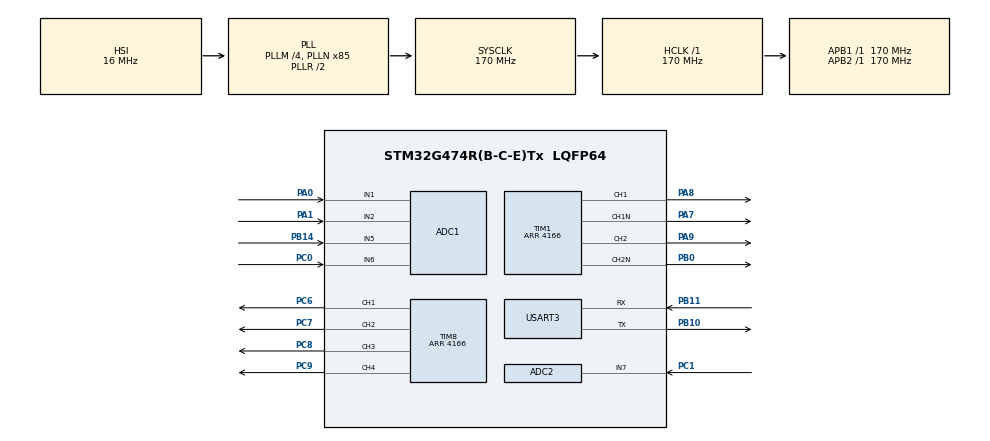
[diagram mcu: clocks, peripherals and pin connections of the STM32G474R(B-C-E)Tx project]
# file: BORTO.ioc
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ADC1.Channel-0\#ChannelRegularConversion=ADC_CHANNEL_1
ADC1.Channel-1\#ChannelRegularConversion=ADC_CHANNEL_2
ADC1.DMAContinuousRequests=ENABLE
ADC1.EnableAnalogWatchDog1=false
ADC1.ExternalTrigConv=ADC_EXTERNALTRIG_T1_TRGO
ADC1.NbrOfConversion=2
ADC1.NbrOfConversionFlag=1
ADC1.OffsetNumber-0\#ChannelRegularConversion=ADC_OFFSET_NONE
ADC1.OffsetNumber-1\#ChannelRegularConversion=ADC_OFFSET_NONE
ADC1.Rank-0\#ChannelRegularConversion=1
ADC1.Rank-1\#ChannelRegularConversion=2
ADC1.SamplingTime-0\#ChannelRegularConversion=ADC_SAMPLETIME_47CYCLES_5
ADC1.SamplingTime-1\#ChannelRegularConversion=ADC_SAMPLETIME_47CYCLES_5
ADC1.master=1
ADC2.Channel-0\#ChannelRegularConversion=ADC_CHANNEL_7
ADC2.DMAContinuousRequests=ENABLE
ADC2.ExternalTrigConv=ADC_EXTERNALTRIG_T1_TRGO
ADC2.NbrOfConversionFlag=1
ADC2.OffsetNumber-0\#ChannelRegularConversion=ADC_OFFSET_NONE
ADC2.Rank-0\#ChannelRegularConversion=1
ADC2.SamplingTime-0\#ChannelRegularConversion=ADC_SAMPLETIME_47CYCLES_5
Dma.ADC1.0.Direction=DMA_PERIPH_TO_MEMORY
Dma.ADC1.0.EventEnable=DISABLE
Dma.ADC1.0.Instance=DMA1_Channel1
Dma.ADC1.0.MemDataAlignment=DMA_MDATAALIGN_HALFWORD
Dma.ADC1.0.MemInc=DMA_MINC_ENABLE
Dma.ADC1.0.Mode=DMA_CIRCULAR
Dma.ADC1.0.PeriphDataAlignment=DMA_PDATAALIGN_HALFWORD
Dma.ADC1.0.PeriphInc=DMA_PINC_DISABLE
Dma.ADC1.0.Polarity=HAL_DMAMUX_REQ_GEN_RISING
Dma.ADC1.0.Priority=DMA_PRIORITY_LOW
Dma.ADC1.0.RequestNumber=1
Dma.ADC1.0.SignalID=NONE
Dma.ADC1.0.SyncEnable=DISABLE
Dma.ADC1.0.SyncPolarity=HAL_DMAMUX_SYNC_NO_EVENT
Dma.ADC1.0.SyncRequestNumber=1
Dma.ADC1.0.SyncSignalID=NONE
Dma.ADC2.1.Direction=DMA_PERIPH_TO_MEMORY
Dma.ADC2.1.EventEnable=DISABLE
Dma.ADC2.1.Instance=DMA1_Channel2
Dma.ADC2.1.MemDataAlignment=DMA_MDATAALIGN_HALFWORD
Dma.ADC2.1.MemInc=DMA_MINC_ENABLE
Dma.ADC2.1.Mode=DMA_CIRCULAR
Dma.ADC2.1.PeriphDataAlignment=DMA_PDATAALIGN_HALFWORD
Dma.ADC2.1.PeriphInc=DMA_PINC_DISABLE
Dma.ADC2.1.Polarity=HAL_DMAMUX_REQ_GEN_RISING
Dma.ADC2.1.Priority=DMA_PRIORITY_LOW
Dma.ADC2.1.RequestNumber=1
Dma.ADC2.1.SignalID=NONE
Dma.ADC2.1.SyncEnable=DISABLE
Dma.ADC2.1.SyncPolarity=HAL_DMAMUX_SYNC_NO_EVENT
Dma.ADC2.1.SyncRequestNumber=1
Dma.ADC2.1.SyncSignalID=NONE
Dma.Request0=ADC1
Dma.Request1=ADC2
Mcu.Family=STM32G4
Mcu.Name=STM32G474R(B-C-E)Tx
Mcu.Package=LQFP64
NVIC.ADC1_2_IRQn=true\:0\:0\:false\:false\:true\:true\:true\:true
NVIC.DMA1_Channel1_IRQn=true\:0\:0\:false\:false\:true\:false\:true\:true
NVIC.DMA1_Channel2_IRQn=true\:0\:0\:false\:false\:true\:false\:true\:true
NVIC.PriorityGroup=NVIC_PRIORITYGROUP_4
NVIC.TIM8_UP_IRQn=true\:0\:0\:false\:false\:true\:true\:true\:true
PA0.Mode=IN1-Single-Ended
PA0.Signal=ADC1_IN1
PA1.GPIO_Pd=GPIO_NOPULL
PA1.Mode=IN2-Single-Ended
PA1.Signal=ADC1_IN2
PA13.GPIO_Label=T_SWDIO
PA13.Signal=SYS_JTMS-SWDIO
PA14.GPIO_Label=T_SWCLK
PA14.Signal=SYS_JTCK-SWCLK
PA2.GPIO_Label=LPUART1_TX [STLINKV3E_VCP_RX]
PA2.Signal=LPUART1_TX
PA3.GPIO_Label=LPUART1_RX [STLINKV3E_VCP_TX]
PA3.Signal=LPUART1_RX
PA7.GPIO_Speed=GPIO_SPEED_FREQ_VERY_HIGH
PA7.Mode=PWM Generation1 CH1 CH1N
PA7.Signal=TIM1_CH1N
PA8.GPIO_Speed=GPIO_SPEED_FREQ_VERY_HIGH
PA8.Signal=S_TIM1_CH1
PA9.Signal=S_TIM1_CH2
PB0.Mode=PWM Generation2 CH2 CH2N
PB0.Signal=TIM1_CH2N
PB10.Mode=Asynchronous
PB10.Signal=USART3_TX
PB11.Mode=Asynchronous
PB11.Signal=USART3_RX
PB14.Mode=IN5-Single-Ended
PB14.Signal=ADC1_IN5
PB3.GPIO_Label=T_SWO
PB3.Signal=SYS_JTDO-SWO
PC0.Mode=IN6-Single-Ended
PC0.Signal=ADC1_IN6
PC1.Mode=IN7-Single-Ended
PC1.Signal=ADC2_IN7
PC14-OSC32_IN.GPIO_Label=RCC_OSC32_IN
PC14-OSC32_IN.Signal=RCC_OSC32_IN
PC15-OSC32_OUT.GPIO_Label=RCC_OSC32_OUT
PC15-OSC32_OUT.Signal=RCC_OSC32_OUT
PC6.Signal=S_TIM8_CH1
PC7.Signal=S_TIM8_CH2
PC8.Signal=S_TIM8_CH3
PC9.Signal=S_TIM8_CH4
PF0-OSC_IN.GPIO_Label=RCC_OSC_IN
PF0-OSC_IN.Signal=RCC_OSC_IN
PF1-OSC_OUT.GPIO_Label=RCC_OSC_OUT
PF1-OSC_OUT.Signal=RCC_OSC_OUT
ProjectManager.HeapSize=0x200
ProjectManager.StackSize=0x400
ProjectManager.TargetToolchain=STM32CubeIDE
RCC.ADC12Freq_Value=170000000
RCC.ADC345Freq_Value=170000000
RCC.AHBFreq_Value=170000000
RCC.APB1Freq_Value=170000000
RCC.APB1TimFreq_Value=170000000
RCC.APB2Freq_Value=170000000
RCC.APB2TimFreq_Value=170000000
RCC.CortexFreq_Value=170000000
RCC.EXTERNAL_CLOCK_VALUE=12288000
RCC.HCLKFreq_Value=170000000
RCC.HSE_VALUE=24000000
RCC.HSI48_VALUE=48000000
RCC.HSI_VALUE=16000000
RCC.LSE_VALUE=32768
RCC.PLLM=RCC_PLLM_DIV4
RCC.PLLN=85
RCC.RTCClockSelection=RCC_RTCCLKSOURCE_LSE
RCC.SYSCLKFreq_VALUE=170000000
RCC.SYSCLKSource=RCC_SYSCLKSOURCE_PLLCLK
RCC.USBFreq_Value=170000000
RCC.VCOOutputFreq_Value=340000000
SH.S_TIM1_CH1.0=TIM1_CH1,PWM Generation1 CH1 CH1N
SH.S_TIM1_CH2.0=TIM1_CH2,PWM Generation2 CH2 CH2N
SH.S_TIM8_CH1.0=TIM8_CH1,PWM Generation1 CH1
SH.S_TIM8_CH2.0=TIM8_CH2,PWM Generation2 CH2
SH.S_TIM8_CH3.0=TIM8_CH3,PWM Generation3 CH3
SH.S_TIM8_CH4.0=TIM8_CH4,PWM Generation4 CH4
TIM1.AutoReloadPreload=TIM_AUTORELOAD_PRELOAD_ENABLE
TIM1.AutomaticOutput=TIM_AUTOMATICOUTPUT_ENABLE
TIM1.BreakState=TIM_BREAK_DISABLE
TIM1.Channel-PWM\ Generation1\ CH1\ CH1N=TIM_CHANNEL_1
TIM1.Channel-PWM\ Generation2\ CH2\ CH2N=TIM_CHANNEL_2
TIM1.CounterMode=TIM_COUNTERMODE_CENTERALIGNED1
TIM1.DeadTime=85
TIM1.PeriodNoDither=4166
TIM1.TIM_MasterOutputTrigger=TIM_TRGO_UPDATE
TIM8.AutoReloadPreload=TIM_AUTORELOAD_PRELOAD_ENABLE
TIM8.AutomaticOutput=TIM_AUTOMATICOUTPUT_DISABLE
TIM8.Channel-PWM\ Generation1\ CH1=TIM_CHANNEL_1
TIM8.Channel-PWM\ Generation2\ CH2=TIM_CHANNEL_2
TIM8.Channel-PWM\ Generation3\ CH3=TIM_CHANNEL_3
TIM8.Channel-PWM\ Generation4\ CH4=TIM_CHANNEL_4
TIM8.CounterMode=TIM_COUNTERMODE_CENTERALIGNED1
TIM8.PeriodNoDither=4166
TIM8.RepetitionCounter=1
USART3.VirtualMode-Asynchronous=VM_ASYNC
VP_SYS_VS_DBSignals.Mode=DisableDeadBatterySignals
VP_TIM1_VS_ClockSourceINT.Mode=Internal
VP_TIM8_VS_ClockSourceINT.Mode=Internal
board=NUCLEO-G474RE

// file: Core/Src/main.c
/* USER CODE BEGIN Header */
/**
  ******************************************************************************
  * @file           : main.c
  * @brief          : Main program body
  ******************************************************************************
  * @attention
  *
  * Copyright (c) 2026 STMicroelectronics.
  * All rights reserved.
  *
  * This software is licensed under terms that can be found in the LICENSE file
  * in the root directory of this software component.
  * If no LICENSE file comes with this software, it is provided AS-IS.
  *
  ******************************************************************************
  */
/* USER CODE END Header */
#include "main.h"

/* USER CODE BEGIN Includes */

#include "boost_converter.h"
#include "buck_converter.h"
#include "sensors.h"
#include "inverter.h"

#include "stm_to_rasp_pi.h"
#include <string.h>

/* USER CODE END Includes */

ADC_HandleTypeDef hadc1;
ADC_HandleTypeDef hadc2;
DMA_HandleTypeDef hdma_adc1;
DMA_HandleTypeDef hdma_adc2;

TIM_HandleTypeDef htim1;
TIM_HandleTypeDef htim8;

UART_HandleTypeDef huart3;

/* USER CODE BEGIN PV */
// Initializing borto_data structure with default values
BORTOData_t borto_data[5] = {
    { .location = DC1,       .status = CHARGING_OK, .error = NO_ERROR, .setpoint = 28800, .sensor_slope = 1000, .sensor_offset = 0 },
    { .location = BATTERY,   .status = CHARGING_OK, .error = NO_ERROR, .setpoint = 1000,  .sensor_slope = 1000, .sensor_offset = 0 },
    { .location = DC2,       .status = CHARGING_OK, .error = NO_ERROR, .setpoint = 39600, .sensor_slope = 1000, .sensor_offset = 0 },
    { .location = INVERTER,  .status = CHARGING_OK, .error = NO_ERROR, .setpoint = 0,     .sensor_slope = 1000, .sensor_offset = 0 },
    { .location = ENCLOSURE, .status = CHARGING_OK, .error = NO_ERROR, .setpoint = 0,     .sensor_slope = 1000, .sensor_offset = 0 }
};

// 2. UART RX Interrupt buffers and flags
#define RX_BUFFER_SIZE 64
uint8_t uart_rx_byte;                        // Single byte buffer for HAL_UART_Receive_IT
char uart_rx_working_buf[RX_BUFFER_SIZE];    // Fills up byte-by-byte inside the ISR
char uart_cmd_ready_buf[RX_BUFFER_SIZE];     // Holds the completed string for main() to parse
volatile uint8_t uart_rx_idx = 0;
volatile uint8_t pi_cmd_ready = 0;           // Flag: 1 = new command waiting to be parsed

BORTOCommand_t incoming_pi_cmd;
OperatingMode_t current_operating_mode = MODE_CHARGE;
uint8_t system_shutdown_latched = 0;
/* USER CODE END PV */

void SystemClock_Config(void);
static void MX_GPIO_Init(void);
static void MX_DMA_Init(void);
static void MX_ADC1_Init(void);
static void MX_TIM1_Init(void);
static void MX_TIM8_Init(void);
static void MX_ADC2_Init(void);
static void MX_USART3_UART_Init(void);

int main(void)
{

  /* MCU Configuration--------------------------------------------------------*/

  /* Reset of all peripherals, Initializes the Flash interface and the Systick. */
  HAL_Init();

  /* USER CODE BEGIN Init */

  /* Configure the system clock */
  SystemClock_Config();

  /* Initialize all configured peripherals */
  MX_GPIO_Init();
  MX_DMA_Init();
  MX_ADC1_Init();
  MX_TIM1_Init();
  MX_TIM8_Init();
  MX_ADC2_Init();
  MX_USART3_UART_Init();
  /* USER CODE BEGIN 2 */

  /* MCU Configuration --------------------------------------------------------*/
    // 1. Bind TIM1 handle to the Buck Converter module
  	Boost_Init(&htim1);
  	Boost_PI_Init();
    Boost_Start();

    Buck_Init(&htim1);
    Buck_PI_Init();
    Buck_Start();

    Sensors_Init_Start(&hadc1);
    Sensors_Init_Start_Boost(&hadc2);

    HAL_UART_Receive_IT(&huart3, &uart_rx_byte, 1); // Start UART RX interrupt for receiving commands from Raspberry Pi

  /* USER CODE END 2 */

  /* Infinite loop */
  /* USER CODE BEGIN WHILE */
  while (1)
  {
    if (pi_cmd_ready) {
        pi_cmd_ready = 0; // Reset the flag
        int parse_result = parse_command_from_pi(uart_cmd_ready_buf, &incoming_pi_cmd);
        if (parse_result == 0) {
            // Successfully parsed command, now handle it
            process_pi_command(&incoming_pi_cmd);
        } else {
            // Handle parsing error (e.g., log it, send error response, etc.)
        }
    }
    /* USER CODE END WHILE */

  }
}

void SystemClock_Config(void)
{
  RCC_OscInitTypeDef RCC_OscInitStruct = {0};
  RCC_ClkInitTypeDef RCC_ClkInitStruct = {0};

  /** Configure the main internal regulator output voltage
  */
  HAL_PWREx_ControlVoltageScaling(PWR_REGULATOR_VOLTAGE_SCALE1_BOOST);

  /** Initializes the RCC Oscillators according to the specified parameters
  * in the RCC_OscInitTypeDef structure.
  */
  RCC_OscInitStruct.OscillatorType = RCC_OSCILLATORTYPE_HSI;
  RCC_OscInitStruct.HSIState = RCC_HSI_ON;
  RCC_OscInitStruct.HSICalibrationValue = RCC_HSICALIBRATION_DEFAULT;
  RCC_OscInitStruct.PLL.PLLState = RCC_PLL_ON;
  RCC_OscInitStruct.PLL.PLLSource = RCC_PLLSOURCE_HSI;
  RCC_OscInitStruct.PLL.PLLM = RCC_PLLM_DIV4;
  RCC_OscInitStruct.PLL.PLLN = 85;
  RCC_OscInitStruct.PLL.PLLP = RCC_PLLP_DIV2;
  RCC_OscInitStruct.PLL.PLLQ = RCC_PLLQ_DIV2;
  RCC_OscInitStruct.PLL.PLLR = RCC_PLLR_DIV2;
  if (HAL_RCC_OscConfig(&RCC_OscInitStruct) != HAL_OK)
  {
    Error_Handler();
  }

  /** Initializes the CPU, AHB and APB buses clocks
  */
  RCC_ClkInitStruct.ClockType = RCC_CLOCKTYPE_HCLK|RCC_CLOCKTYPE_SYSCLK
                              |RCC_CLOCKTYPE_PCLK1|RCC_CLOCKTYPE_PCLK2;
  RCC_ClkInitStruct.SYSCLKSource = RCC_SYSCLKSOURCE_PLLCLK;
  RCC_ClkInitStruct.AHBCLKDivider = RCC_SYSCLK_DIV1;
  RCC_ClkInitStruct.APB1CLKDivider = RCC_HCLK_DIV1;
  RCC_ClkInitStruct.APB2CLKDivider = RCC_HCLK_DIV1;

  if (HAL_RCC_ClockConfig(&RCC_ClkInitStruct, FLASH_LATENCY_4) != HAL_OK)
  {
    Error_Handler();
  }
}

static void MX_ADC1_Init(void)
{

  ADC_MultiModeTypeDef multimode = {0};
  ADC_ChannelConfTypeDef sConfig = {0};

  /** Common config
  */
  hadc1.Instance = ADC1;
  hadc1.Init.ClockPrescaler = ADC_CLOCK_SYNC_PCLK_DIV4;
  hadc1.Init.Resolution = ADC_RESOLUTION_12B;
  hadc1.Init.DataAlign = ADC_DATAALIGN_RIGHT;
  hadc1.Init.GainCompensation = 0;
  hadc1.Init.ScanConvMode = ADC_SCAN_ENABLE;
  hadc1.Init.EOCSelection = ADC_EOC_SINGLE_CONV;
  hadc1.Init.LowPowerAutoWait = DISABLE;
  hadc1.Init.ContinuousConvMode = DISABLE;
  hadc1.Init.NbrOfConversion = 2;
  hadc1.Init.DiscontinuousConvMode = DISABLE;
  hadc1.Init.ExternalTrigConv = ADC_EXTERNALTRIG_T1_TRGO;
  hadc1.Init.ExternalTrigConvEdge = ADC_EXTERNALTRIGCONVEDGE_RISING;
  hadc1.Init.DMAContinuousRequests = ENABLE;
  hadc1.Init.Overrun = ADC_OVR_DATA_PRESERVED;
  hadc1.Init.OversamplingMode = DISABLE;
  if (HAL_ADC_Init(&hadc1) != HAL_OK)
  {
    Error_Handler();
  }

  /** Configure the ADC multi-mode
  */
  multimode.Mode = ADC_MODE_INDEPENDENT;
  if (HAL_ADCEx_MultiModeConfigChannel(&hadc1, &multimode) != HAL_OK)
  {
    Error_Handler();
  }

  /** Configure Regular Channel
  */
  sConfig.Channel = ADC_CHANNEL_1;
  sConfig.Rank = ADC_REGULAR_RANK_1;
  sConfig.SamplingTime = ADC_SAMPLETIME_47CYCLES_5;
  sConfig.SingleDiff = ADC_SINGLE_ENDED;
  sConfig.OffsetNumber = ADC_OFFSET_NONE;
  sConfig.Offset = 0;
  if (HAL_ADC_ConfigChannel(&hadc1, &sConfig) != HAL_OK)
  {
    Error_Handler();
  }

  /** Configure Regular Channel
  */
  sConfig.Channel = ADC_CHANNEL_2;
  sConfig.Rank = ADC_REGULAR_RANK_2;
  if (HAL_ADC_ConfigChannel(&hadc1, &sConfig) != HAL_OK)
  {
    Error_Handler();
  }

}

static void MX_ADC2_Init(void)
{

  ADC_ChannelConfTypeDef sConfig = {0};

  /** Common config
  */
  hadc2.Instance = ADC2;
  hadc2.Init.ClockPrescaler = ADC_CLOCK_SYNC_PCLK_DIV4;
  hadc2.Init.Resolution = ADC_RESOLUTION_12B;
  hadc2.Init.DataAlign = ADC_DATAALIGN_RIGHT;
  hadc2.Init.GainCompensation = 0;
  hadc2.Init.ScanConvMode = ADC_SCAN_DISABLE;
  hadc2.Init.EOCSelection = ADC_EOC_SINGLE_CONV;
  hadc2.Init.LowPowerAutoWait = DISABLE;
  hadc2.Init.ContinuousConvMode = DISABLE;
  hadc2.Init.NbrOfConversion = 1;
  hadc2.Init.DiscontinuousConvMode = DISABLE;
  hadc2.Init.ExternalTrigConv = ADC_EXTERNALTRIG_T1_TRGO;
  hadc2.Init.ExternalTrigConvEdge = ADC_EXTERNALTRIGCONVEDGE_RISING;
  hadc2.Init.DMAContinuousRequests = ENABLE;
  hadc2.Init.Overrun = ADC_OVR_DATA_PRESERVED;
  hadc2.Init.OversamplingMode = DISABLE;
  if (HAL_ADC_Init(&hadc2) != HAL_OK)
  {
    Error_Handler();
  }

  /** Configure Regular Channel
  */
  sConfig.Channel = ADC_CHANNEL_7;
  sConfig.Rank = ADC_REGULAR_RANK_1;
  sConfig.SamplingTime = ADC_SAMPLETIME_47CYCLES_5;
  sConfig.SingleDiff = ADC_SINGLE_ENDED;
  sConfig.OffsetNumber = ADC_OFFSET_NONE;
  sConfig.Offset = 0;
  if (HAL_ADC_ConfigChannel(&hadc2, &sConfig) != HAL_OK)
  {
    Error_Handler();
  }

}

static void MX_TIM1_Init(void)
{

  TIM_ClockConfigTypeDef sClockSourceConfig = {0};
  TIM_MasterConfigTypeDef sMasterConfig = {0};
  TIM_OC_InitTypeDef sConfigOC = {0};
  TIM_BreakDeadTimeConfigTypeDef sBreakDeadTimeConfig = {0};

  htim1.Instance = TIM1;
  htim1.Init.Prescaler = 0;
  htim1.Init.CounterMode = TIM_COUNTERMODE_CENTERALIGNED1;
  htim1.Init.Period = 4166;
  htim1.Init.ClockDivision = TIM_CLOCKDIVISION_DIV1;
  htim1.Init.RepetitionCounter = 0;
  htim1.Init.AutoReloadPreload = TIM_AUTORELOAD_PRELOAD_ENABLE;
  if (HAL_TIM_Base_Init(&htim1) != HAL_OK)
  {
    Error_Handler();
  }
  sClockSourceConfig.ClockSource = TIM_CLOCKSOURCE_INTERNAL;
  if (HAL_TIM_ConfigClockSource(&htim1, &sClockSourceConfig) != HAL_OK)
  {
    Error_Handler();
  }
  if (HAL_TIM_PWM_Init(&htim1) != HAL_OK)
  {
    Error_Handler();
  }
  sMasterConfig.MasterOutputTrigger = TIM_TRGO_UPDATE;
  sMasterConfig.MasterOutputTrigger2 = TIM_TRGO2_RESET;
  sMasterConfig.MasterSlaveMode = TIM_MASTERSLAVEMODE_DISABLE;
  if (HAL_TIMEx_MasterConfigSynchronization(&htim1, &sMasterConfig) != HAL_OK)
  {
    Error_Handler();
  }
  sConfigOC.OCMode = TIM_OCMODE_PWM1;
  sConfigOC.Pulse = 0;
  sConfigOC.OCPolarity = TIM_OCPOLARITY_HIGH;
  sConfigOC.OCNPolarity = TIM_OCNPOLARITY_HIGH;
  sConfigOC.OCFastMode = TIM_OCFAST_DISABLE;
  sConfigOC.OCIdleState = TIM_OCIDLESTATE_RESET;
  sConfigOC.OCNIdleState = TIM_OCNIDLESTATE_RESET;
  if (HAL_TIM_PWM_ConfigChannel(&htim1, &sConfigOC, TIM_CHANNEL_1) != HAL_OK)
  {
    Error_Handler();
  }
  if (HAL_TIM_PWM_ConfigChannel(&htim1, &sConfigOC, TIM_CHANNEL_2) != HAL_OK)
  {
    Error_Handler();
  }
  sBreakDeadTimeConfig.OffStateRunMode = TIM_OSSR_DISABLE;
  sBreakDeadTimeConfig.OffStateIDLEMode = TIM_OSSI_DISABLE;
  sBreakDeadTimeConfig.LockLevel = TIM_LOCKLEVEL_OFF;
  sBreakDeadTimeConfig.DeadTime = 85;
  sBreakDeadTimeConfig.BreakState = TIM_BREAK_DISABLE;
  sBreakDeadTimeConfig.BreakPolarity = TIM_BREAKPOLARITY_HIGH;
  sBreakDeadTimeConfig.BreakFilter = 0;
  sBreakDeadTimeConfig.BreakAFMode = TIM_BREAK_AFMODE_INPUT;
  sBreakDeadTimeConfig.Break2State = TIM_BREAK2_DISABLE;
  sBreakDeadTimeConfig.Break2Polarity = TIM_BREAK2POLARITY_HIGH;
  sBreakDeadTimeConfig.Break2Filter = 0;
  sBreakDeadTimeConfig.Break2AFMode = TIM_BREAK_AFMODE_INPUT;
  sBreakDeadTimeConfig.AutomaticOutput = TIM_AUTOMATICOUTPUT_ENABLE;
  if (HAL_TIMEx_ConfigBreakDeadTime(&htim1, &sBreakDeadTimeConfig) != HAL_OK)
  {
    Error_Handler();
  }
  HAL_TIM_MspPostInit(&htim1);

}

static void MX_TIM8_Init(void)
{

  TIM_ClockConfigTypeDef sClockSourceConfig = {0};
  TIM_MasterConfigTypeDef sMasterConfig = {0};
  TIM_OC_InitTypeDef sConfigOC = {0};
  TIM_BreakDeadTimeConfigTypeDef sBreakDeadTimeConfig = {0};

  htim8.Instance = TIM8;
  htim8.Init.Prescaler = 0;
  htim8.Init.CounterMode = TIM_COUNTERMODE_CENTERALIGNED1;
  htim8.Init.Period = 4166;
  htim8.Init.ClockDivision = TIM_CLOCKDIVISION_DIV1;
  htim8.Init.RepetitionCounter = 1;
  htim8.Init.AutoReloadPreload = TIM_AUTORELOAD_PRELOAD_ENABLE;
  if (HAL_TIM_Base_Init(&htim8) != HAL_OK)
  {
    Error_Handler();
  }
  sClockSourceConfig.ClockSource = TIM_CLOCKSOURCE_INTERNAL;
  if (HAL_TIM_ConfigClockSource(&htim8, &sClockSourceConfig) != HAL_OK)
  {
    Error_Handler();
  }
  if (HAL_TIM_PWM_Init(&htim8) != HAL_OK)
  {
    Error_Handler();
  }
  sMasterConfig.MasterOutputTrigger = TIM_TRGO_RESET;
  sMasterConfig.MasterOutputTrigger2 = TIM_TRGO2_RESET;
  sMasterConfig.MasterSlaveMode = TIM_MASTERSLAVEMODE_DISABLE;
  if (HAL_TIMEx_MasterConfigSynchronization(&htim8, &sMasterConfig) != HAL_OK)
  {
    Error_Handler();
  }
  sConfigOC.OCMode = TIM_OCMODE_PWM1;
  sConfigOC.Pulse = 0;
  sConfigOC.OCPolarity = TIM_OCPOLARITY_HIGH;
  sConfigOC.OCNPolarity = TIM_OCNPOLARITY_HIGH;
  sConfigOC.OCFastMode = TIM_OCFAST_DISABLE;
  sConfigOC.OCIdleState = TIM_OCIDLESTATE_RESET;
  sConfigOC.OCNIdleState = TIM_OCNIDLESTATE_RESET;
  if (HAL_TIM_PWM_ConfigChannel(&htim8, &sConfigOC, TIM_CHANNEL_1) != HAL_OK)
  {
    Error_Handler();
  }
  if (HAL_TIM_PWM_ConfigChannel(&htim8, &sConfigOC, TIM_CHANNEL_2) != HAL_OK)
  {
    Error_Handler();
  }
  if (HAL_TIM_PWM_ConfigChannel(&htim8, &sConfigOC, TIM_CHANNEL_3) != HAL_OK)
  {
    Error_Handler();
  }
  if (HAL_TIM_PWM_ConfigChannel(&htim8, &sConfigOC, TIM_CHANNEL_4) != HAL_OK)
  {
    Error_Handler();
  }
  sBreakDeadTimeConfig.OffStateRunMode = TIM_OSSR_DISABLE;
  sBreakDeadTimeConfig.OffStateIDLEMode = TIM_OSSI_DISABLE;
  sBreakDeadTimeConfig.LockLevel = TIM_LOCKLEVEL_OFF;
  sBreakDeadTimeConfig.DeadTime = 0;
  sBreakDeadTimeConfig.BreakState = TIM_BREAK_DISABLE;
  sBreakDeadTimeConfig.BreakPolarity = TIM_BREAKPOLARITY_HIGH;
  sBreakDeadTimeConfig.BreakFilter = 0;
  sBreakDeadTimeConfig.BreakAFMode = TIM_BREAK_AFMODE_INPUT;
  sBreakDeadTimeConfig.Break2State = TIM_BREAK2_DISABLE;
  sBreakDeadTimeConfig.Break2Polarity = TIM_BREAK2POLARITY_HIGH;
  sBreakDeadTimeConfig.Break2Filter = 0;
  sBreakDeadTimeConfig.Break2AFMode = TIM_BREAK_AFMODE_INPUT;
  sBreakDeadTimeConfig.AutomaticOutput = TIM_AUTOMATICOUTPUT_DISABLE;
  if (HAL_TIMEx_ConfigBreakDeadTime(&htim8, &sBreakDeadTimeConfig) != HAL_OK)
  {
    Error_Handler();
  }
  HAL_TIM_MspPostInit(&htim8);

}

static void MX_USART3_UART_Init(void)
{

  huart3.Instance = USART3;
  huart3.Init.BaudRate = 115200;
  huart3.Init.WordLength = UART_WORDLENGTH_8B;
  huart3.Init.StopBits = UART_STOPBITS_1;
  huart3.Init.Parity = UART_PARITY_NONE;
  huart3.Init.Mode = UART_MODE_TX_RX;
  huart3.Init.HwFlowCtl = UART_HWCONTROL_NONE;
  huart3.Init.OverSampling = UART_OVERSAMPLING_16;
  huart3.Init.OneBitSampling = UART_ONE_BIT_SAMPLE_DISABLE;
  huart3.Init.ClockPrescaler = UART_PRESCALER_DIV1;
  huart3.AdvancedInit.AdvFeatureInit = UART_ADVFEATURE_NO_INIT;
  if (HAL_UART_Init(&huart3) != HAL_OK)
  {
    Error_Handler();
  }
  if (HAL_UARTEx_SetTxFifoThreshold(&huart3, UART_TXFIFO_THRESHOLD_1_8) != HAL_OK)
  {
    Error_Handler();
  }
  if (HAL_UARTEx_SetRxFifoThreshold(&huart3, UART_RXFIFO_THRESHOLD_1_8) != HAL_OK)
  {
    Error_Handler();
  }
  if (HAL_UARTEx_DisableFifoMode(&huart3) != HAL_OK)
  {
    Error_Handler();
  }

}

static void MX_DMA_Init(void)
{

  /* DMA controller clock enable */
  __HAL_RCC_DMAMUX1_CLK_ENABLE();
  __HAL_RCC_DMA1_CLK_ENABLE();

  /* DMA interrupt init */
  /* DMA1_Channel1_IRQn interrupt configuration */
  HAL_NVIC_SetPriority(DMA1_Channel1_IRQn, 0, 0);
  HAL_NVIC_EnableIRQ(DMA1_Channel1_IRQn);
  /* DMA1_Channel2_IRQn interrupt configuration */
  HAL_NVIC_SetPriority(DMA1_Channel2_IRQn, 0, 0);
  HAL_NVIC_EnableIRQ(DMA1_Channel2_IRQn);

}

static void MX_GPIO_Init(void)
{
  GPIO_InitTypeDef GPIO_InitStruct = {0};

  /* GPIO Ports Clock Enable */
  __HAL_RCC_GPIOC_CLK_ENABLE();
  __HAL_RCC_GPIOF_CLK_ENABLE();
  __HAL_RCC_GPIOA_CLK_ENABLE();
  __HAL_RCC_GPIOB_CLK_ENABLE();

  /*Configure GPIO pins : LPUART1_TX_Pin LPUART1_RX_Pin */
  GPIO_InitStruct.Pin = LPUART1_TX_Pin|LPUART1_RX_Pin;
  GPIO_InitStruct.Mode = GPIO_MODE_AF_PP;
  GPIO_InitStruct.Pull = GPIO_NOPULL;
  GPIO_InitStruct.Speed = GPIO_SPEED_FREQ_LOW;
  GPIO_InitStruct.Alternate = GPIO_AF12_LPUART1;
  HAL_GPIO_Init(GPIOA, &GPIO_InitStruct);

}

/* USER CODE BEGIN 4 */

// Executes parsed command from the Raspberry Pi and updates the borto_data structure
void process_pi_command(BORTOCommand_t *cmd) {
  if (cmd == NULL) return;

  switch (cmd->command_type) {
    case CMD_SET_PARAM:
      // cmd->target is of type Location_t (0=DC1, 1=BATTERY, 2=DC2, 3=INVERTER, 4=ENCLOSURE)
      if (cmd->target <= ENCLOSURE) {
        borto_data[cmd->target].setpoint = cmd->setpoint;
        borto_data[cmd->target].sensor_slope = cmd->sensor_slope;
        borto_data[cmd->target].sensor_offset = cmd->sensor_offset;
      }
      break;
    case CMD_SET_MODE:
      current_operating_mode = (OperatingMode_t)cmd->target; // target is OperatingMode_t
      // Sets the same operating mode for all locations
      for (int i = 0; i <= ENCLOSURE; i++) {
          if (current_operating_mode == MODE_STANDBY) {
              borto_data[i].status = STANDBY;
          } else if (current_operating_mode == MODE_CHARGE) {
              borto_data[i].status = CHARGING;
          } else if (current_operating_mode == MODE_DISCHARGE) {
              borto_data[i].status = DISCHARGING;
          }
      }
      break;
    case CMD_SYS_ACTION:
      // cmd->target is SysAction_t (0=CLEAR_FAULT, 1=REBOOT_MCU, 2=SHUTDOWN)
      switch (cmd->target) {
        case SYS_CLEAR_FAULT:
          system_shutdown_latched = 0;
          // Clear all errors in borto_data
          for (int i = 0; i <= ENCLOSURE; i++) {
              borto_data[i].error = NO_ERROR;
          }
          break;
        case SYS_REBOOT_MCU:
          NVIC_SystemReset(); // Trigger a system reset
          break;
        case SYS_SHUTDOWN:
          system_shutdown_latched = 1; // Set a flag to indicate shutdown
          borto_data[DC1].duty_cycle = 0;
          borto_data[DC2].duty_cycle = 0;
          borto_data[INVERTER].duty_cycle = 0;
          // TODO: All hardware timers should be stopped here!!
          break;
        default:
          // Handle unknown system action if necessary
          break;
      }
      break;
    default:
      // Handle unknown command type if necessary
      break;
  }
}

// UART RX Complete Interrupt Callback
void HAL_UART_RxCpltCallback(UART_HandleTypeDef *huart) {
  if (huart->Instance == USART3) { // Check if the interrupt is from USART3
    if (uart_rx_byte == '\n') { // End of command
      uart_cmd_ready_buf[uart_rx_idx] = '\0'; // Null-terminate the string
      pi_cmd_ready = 1; // Set flag to indicate a new command is ready
      uart_rx_idx = 0; // Reset index for next command
    } else if (uart_rx_byte != '\r') { // Ignore carriage return
      if (uart_rx_idx < RX_BUFFER_SIZE - 1) { // Prevent buffer overflow
        uart_rx_working_buf[uart_rx_idx++] = uart_rx_byte; // Store received byte
      }
    }
    HAL_UART_Receive_IT(huart, &uart_rx_byte, 1); // Restart UART RX interrupt
  }
}

void HAL_UART_ErrorCallback(UART_HandleTypeDef *huart) {
  if (huart->Instance == USART3) {
    // Handle UART error (e.g., framing error, noise error, overrun error)
    // For now, we can just reset the UART receive process
    uart_rx_idx = 0; // Reset index
    pi_cmd_ready = 0; // Clear command ready flag
    HAL_UART_Receive_IT(huart, &uart_rx_byte, 1); // Restart UART RX interrupt
  }
}

/* USER CODE END 4 */

void Error_Handler(void)
{
  __disable_irq();
  while (1)
  {
  }
}
